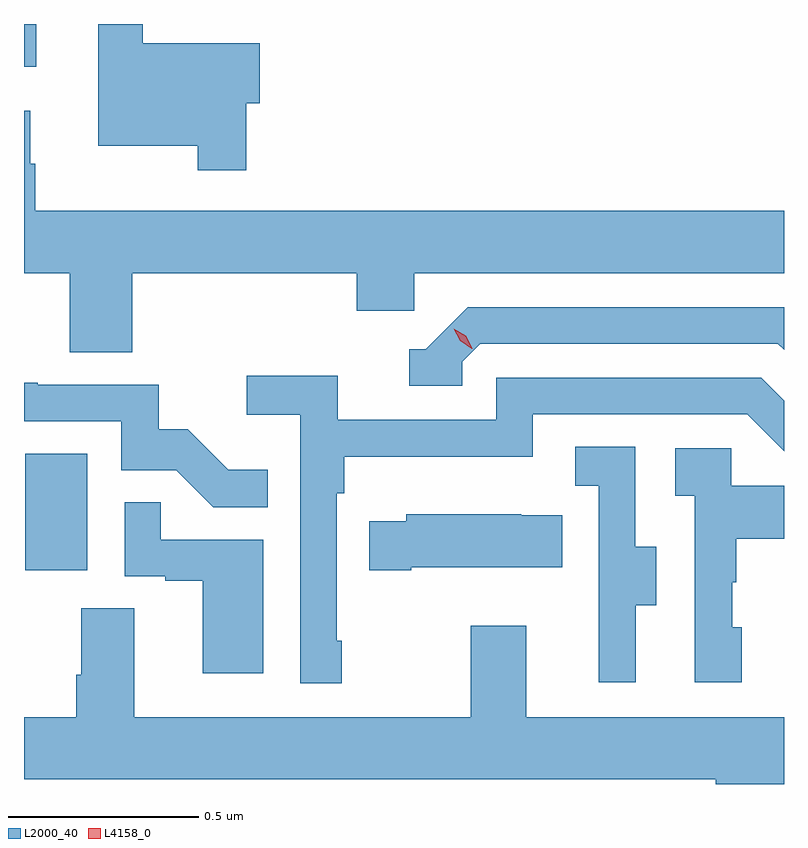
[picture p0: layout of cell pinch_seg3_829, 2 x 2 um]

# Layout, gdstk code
import gdstk
lib = gdstk.Library(unit=1e-6, precision=1e-09)
def R(c, l, rs):  # rectangles x0, y0, x1, y1
    for r in rs: c.add(gdstk.rectangle(r[:2], r[2:], *l))
def P(c, l, *ps):  # polygons
    for p in ps: c.add(gdstk.Polygon(p, *l))
L2000_40 = (2000, 40)
L4158_0 = (4158, 0)

pinch_seg3_829 = lib.new_cell('pinch_seg3_829')
R(pinch_seg3_829, L2000_40, [(832.208,724.11,832.372,724.417), (832.205,725.435,832.237,725.548)])
P(pinch_seg3_829, L2000_40, [(832.79,725.339),(832.825,725.339),(832.825,725.497),(832.517,725.497),(832.517,725.548),(832.4,725.548),(832.4,725.228),(832.662,725.228),(832.662,725.163),(832.79,725.163)],
  [(832.234,725.18),(832.222,725.18),(832.222,725.32),(832.205,725.32),(832.205,724.892),(832.325,724.892),(832.325,724.684),(832.49,724.684),(832.49,724.892),(833.081,724.892),(833.081,724.794),(833.232,724.794),(833.232,724.892),(834.205,724.892),(834.205,725.056),(832.234,725.056)],
  [(833.358,724.659),(833.406,724.707),(834.189,724.707),(834.205,724.691),(834.205,724.803),(833.373,724.803),(833.262,724.692),(833.219,724.692),(833.219,724.596),(833.358,724.596)],
  [(833.041,723.925),(833.028,723.925),(833.028,724.313),(833.048,724.313),(833.048,724.409),(833.544,724.409),(833.544,724.521),(834.108,724.521),(834.205,724.424),(834.205,724.557),(834.145,724.617),(833.448,724.617),(833.448,724.506),(833.03,724.506),(833.03,724.622),(832.791,724.622),(832.791,724.52),(832.932,724.52),(832.932,723.813),(833.041,723.813)],
  [(832.847,724.375),(832.743,724.375),(832.636,724.482),(832.56,724.482),(832.56,724.599),(832.241,724.599),(832.241,724.604),(832.205,724.604),(832.205,724.503),(832.461,724.503),(832.461,724.374),(832.605,724.374),(832.703,724.276),(832.847,724.276)],
  [(833.815,724.018),(833.869,724.018),(833.869,724.173),(833.814,724.173),(833.814,724.436),(833.655,724.436),(833.655,724.333),(833.718,724.333),(833.718,724.029),(833.717,724.029),(833.717,723.816),(833.815,723.816)],
  [(834.094,723.96),(834.069,723.96),(834.069,724.079),(834.079,724.079),(834.079,724.193),(834.205,724.193),(834.205,724.333),(834.066,724.333),(834.066,724.431),(833.919,724.431),(833.919,724.307),(833.97,724.307),(833.97,723.816),(834.094,723.816)],
  [(832.834,724.191),(832.565,724.191),(832.565,724.289),(832.47,724.289),(832.47,724.095),(832.577,724.095),(832.577,724.083),(832.676,724.083),(832.676,723.84),(832.834,723.84)],
  [(833.224,724.118),(833.621,724.118),(833.621,724.255),(833.513,724.255),(833.513,724.258),(833.211,724.258),(833.211,724.24),(833.113,724.24),(833.113,724.111),(833.224,724.111)],
  [(834.205,723.724),(833.527,723.724),(833.527,723.964),(833.38,723.964),(833.38,723.724),(832.495,723.724),(832.495,724.01),(832.355,724.01),(832.355,723.836),(832.343,723.836),(832.343,723.724),(832.205,723.724),(832.205,723.56),(834.026,723.56),(834.026,723.548),(834.205,723.548)])
P(pinch_seg3_829, L4158_0, [(833.383,724.694),(833.353,724.714),(833.336,724.746),(833.336,724.746),(833.336,724.746),(833.367,724.727),(833.384,724.695),(833.384,724.694)])

lib.write_gds('pinch_seg3_829.gds')
